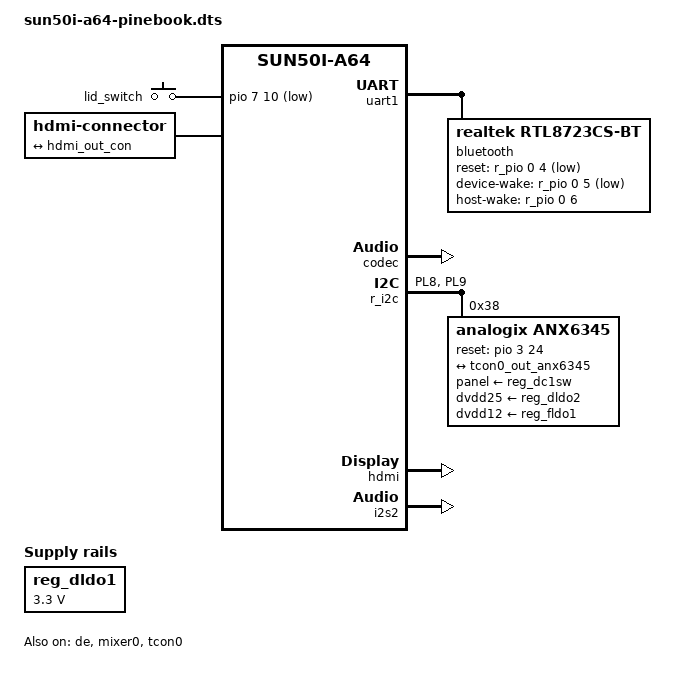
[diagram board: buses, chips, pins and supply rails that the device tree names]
/* $NetBSD: sun50i-a64-pinebook.dts,v 1.11.2.2 2020/04/08 14:07:28 martin Exp $ */

/*-
 * Copyright (c) 2017-2019 Jared McNeill <jmcneill@invisible.ca>
 * All rights reserved.
 *
 * Redistribution and use in source and binary forms, with or without
 * modification, are permitted provided that the following conditions
 * are met:
 * 1. Redistributions of source code must retain the above copyright
 *    notice, this list of conditions and the following disclaimer.
 * 2. Redistributions in binary form must reproduce the above copyright
 *    notice, this list of conditions and the following disclaimer in the
 *    documentation and/or other materials provided with the distribution.
 *
 * THIS SOFTWARE IS PROVIDED BY THE AUTHOR ``AS IS'' AND ANY EXPRESS OR
 * IMPLIED WARRANTIES, INCLUDING, BUT NOT LIMITED TO, THE IMPLIED WARRANTIES
 * OF MERCHANTABILITY AND FITNESS FOR A PARTICULAR PURPOSE ARE DISCLAIMED.
 * IN NO EVENT SHALL THE AUTHOR BE LIABLE FOR ANY DIRECT, INDIRECT,
 * INCIDENTAL, SPECIAL, EXEMPLARY, OR CONSEQUENTIAL DAMAGES (INCLUDING,
 * BUT NOT LIMITED TO, PROCUREMENT OF SUBSTITUTE GOODS OR SERVICES;
 * LOSS OF USE, DATA, OR PROFITS; OR BUSINESS INTERRUPTION) HOWEVER CAUSED
 * AND ON ANY THEORY OF LIABILITY, WHETHER IN CONTRACT, STRICT LIABILITY,
 * OR TORT (INCLUDING NEGLIGENCE OR OTHERWISE) ARISING IN ANY WAY
 * OUT OF THE USE OF THIS SOFTWARE, EVEN IF ADVISED OF THE POSSIBILITY OF
 * SUCH DAMAGE.
 */

#include "../../../external/gpl2/dts/dist/arch/arm64/boot/dts/allwinner/sun50i-a64-pinebook.dts"
#include "sun50i-a64.dtsi"

#include <dt-bindings/gpio/gpio.h>
#include <dt-bindings/input/linux-event-codes.h>
#include <dt-bindings/interrupt-controller/irq.h>
#include <dt-bindings/pwm/pwm.h>

/ {
	chosen {
		framebuffer@0 {
			allwinner,pipeline = "mixer0-lcd0";
		};
	};

	gpio_keys {
		lid_switch {
			/*
			 * This is listed as PL12 in 4.20.3 sources, but
			 * we have used PH10 all along.
			 */
			gpios = <&pio 7 10 GPIO_ACTIVE_LOW>;	/* PH10 */
		};
	};

	sound_spdif {
		status = "disabled";
	};

	hdmi-connector {
		compatible = "hdmi-connector";
		type = "c";

		port {
			hdmi_con_in: endpoint {
				remote-endpoint = <&hdmi_out_con>;
			};
		};
	};
};

&cpu0 {
	cpu-supply = <&reg_dcdc2>;
	operating-points = <
		/* kHz    uV */
		1152000 1300000
		1104000 1260000
		1008000 1200000
		816000  1080000
		648000	1040000
		408000	1000000
		>;
};

&spdif_out {
	status = "disabled";
};

&uart1 {
	pinctrl-names = "default";
	pinctrl-0 = <&uart1_pins>, <&uart1_rts_cts_pins>;
	status = "okay";
	bluetooth {
		compatible = "realtek,rtl8723cs-bt";
		reset-gpios = <&r_pio 0 4 GPIO_ACTIVE_LOW>; /* PL4 */
		device-wake-gpios = <&r_pio 0 5 GPIO_ACTIVE_LOW>; /* PL5 */
		host-wake-gpios = <&r_pio 0 6 GPIO_ACTIVE_HIGH>; /* PL6 */
		firmware-postfix = "pinebook";
	};
};

&codec {
	allwinner,pa-gpios = <&pio 7 7 GPIO_ACTIVE_HIGH>;	/* PH7 */
	status = "okay";
};

&de {
	status = "okay";
};

&mixer0 {
	status = "okay";
};

&tcon0 {
	pinctrl-names = "default";
	pinctrl-0 = <&lcd_rgb666_pins>;

	status = "okay";
};

&tcon0_out {
	tcon0_out_anx6345: endpoint@0 {
		reg = <0>;
		remote-endpoint = <&anx6345_in>;
	};
};

&r_pio {
	r_i2c_pins_a: i2c-a {
		pins = "PL8", "PL9";
		function = "s_i2c";
	};
};

&r_i2c {
	pinctrl-names = "default";
	pinctrl-0 = <&r_i2c_pins_a>;
	status = "okay";

	anx6345: anx6345@38 {
		compatible = "analogix,anx6345";
		reg = <0x38>;
		reset-gpios = <&pio 3 24 GPIO_ACTIVE_HIGH>;	/* PD24 */
		panel-supply = <&reg_dc1sw>;
		dvdd25-supply = <&reg_dldo2>;
		dvdd12-supply = <&reg_fldo1>;

		port {
			anx6345_in: endpoint {
				remote-endpoint = <&tcon0_out_anx6345>;
			};
		};
	};
};

&reg_dldo1 {
	regulator-min-microvolt = <3300000>;
	regulator-max-microvolt = <3300000>;
	regulator-name = "vcc-hdmi";
};

&hdmi {
	hvcc-supply = <&reg_dldo1>;
	status = "okay";
};

&hdmi_out {
	hdmi_out_con: endpoint {
		remote-endpoint = <&hdmi_con_in>;
	};
};

&i2s2 {
	status = "okay";
};

&sound_hdmi {
	status = "okay";
};
